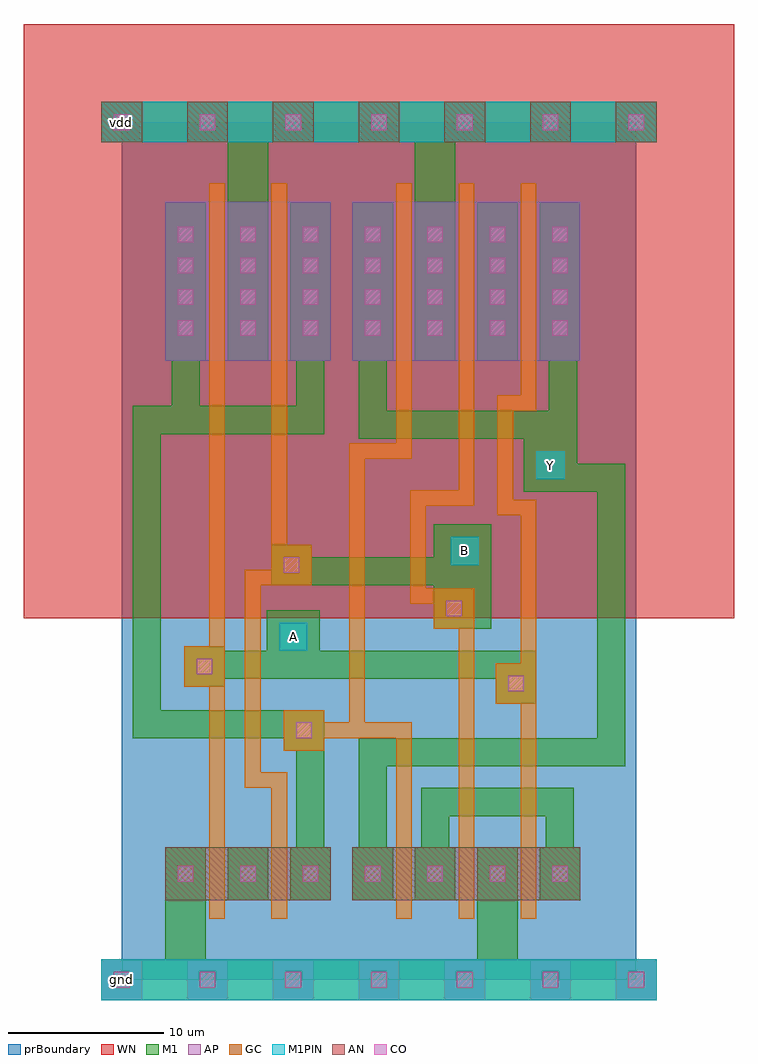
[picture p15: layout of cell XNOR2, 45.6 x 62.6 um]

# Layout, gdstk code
import gdstk
lib = gdstk.Library(unit=1e-6, precision=1e-09)
def R(c, l, rs):  # rectangles x0, y0, x1, y1
    for r in rs: c.add(gdstk.rectangle(r[:2], r[2:], *l))
def A(c, l, x, y, w, h, nx, ny, dx, dy):  # array of equal rectangles
    R(c, l, [(x+i*dx, y+j*dy, x+i*dx+w, y+j*dy+h) for i in range(nx) for j in range(ny)])
def P(c, l, *ps):  # polygons
    for p in ps: c.add(gdstk.Polygon(p, *l))
AP = (3, 1)
AN = (3, 2)
GC = (8, 1)
CO = (11, 0)
M1 = (13, 0)
M1PIN = (48, 1)
WN = (140, 0)
prBoundary = (235, 0)

xnor2 = lib.new_cell('XNOR2')
A(xnor2, AP, -1.3, -1.3, 2.6, 2.6, 7, 1, 5.5, 0)
R(xnor2, AP, [(2.8,39.7,13.4,49.9), (2.8,39.7,13.4,49.9), (14.8,39.7,29.4,49.9), (14.8,39.7,29.4,49.9)])
A(xnor2, AN, -1.3, 53.7, 2.6, 2.6, 7, 1, 5.5, 0)
R(xnor2, AN, [(2.8,5.1,13.4,8.5), (14.8,5.1,29.4,8.5)])
P(xnor2, GC, [(5.6,3.9),(5.6,18.8),(4,18.8),(4,21.4),(5.6,21.4),(5.6,51.1),(6.6,51.1),(6.6,3.9)],
  [(9.6,3.9),(9.6,12.3),(7.9,12.3),(7.9,26.3),(9.6,26.3),(9.6,51.1),(10.6,51.1),(10.6,27.9),(12.2,27.9),(12.2,25.3),(8.9,25.3),(8.9,13.3),(10.6,13.3),(10.6,3.9)],
  [(17.6,3.9),(17.6,15.5),(13,15.5),(13,14.7),(10.4,14.7),(10.4,17.3),(13,17.3),(13,16.5),(14.6,16.5),(14.6,34.4),(17.6,34.4),(17.6,51.1),(18.6,51.1),(18.6,33.4),(15.6,33.4),(15.6,16.5),(18.6,16.5),(18.6,3.9)],
  [(21.6,3.9),(21.6,22.5),(20,22.5),(20,24.1),(18.5,24.1),(18.5,31.4),(21.6,31.4),(21.6,51.1),(22.6,51.1),(22.6,30.4),(19.5,30.4),(19.5,25.1),(22.6,25.1),(22.6,3.9)],
  [(25.6,3.9),(25.6,17.7),(24,17.7),(24,20.3),(25.6,20.3),(25.6,29.8),(24.1,29.8),(24.1,37.5),(25.6,37.5),(25.6,51.1),(26.6,51.1),(26.6,36.5),(25.1,36.5),(25.1,30.8),(26.6,30.8),(26.6,3.9)])
A(xnor2, CO, -0.5, -0.5, 1, 1, 7, 2, 5.5, 55)
A(xnor2, CO, 7.6, 6.3, 1, 1, 4, 2, 4, 35)
A(xnor2, CO, 3.6, 41.3, 1, 1, 1, 4, 0, 2)
A(xnor2, CO, 7.6, 41.3, 1, 1, 1, 4, 0, 2)
A(xnor2, CO, 19.6, 41.3, 1, 1, 1, 4, 0, 2)
A(xnor2, CO, 27.6, 41.3, 1, 1, 1, 4, 0, 2)
A(xnor2, CO, 7.6, 43.3, 1, 1, 4, 3, 4, 2)
R(xnor2, CO, [(3.6,6.3,4.6,7.3), (7.6,6.3,8.6,7.3), (19.6,6.3,20.6,7.3), (23.6,6.3,24.6,7.3), (23.6,6.3,24.6,7.3), (27.6,6.3,28.6,7.3), (11.2,15.5,12.2,16.5), (24.8,18.5,25.8,19.5), (4.8,19.6,5.8,20.6), (20.8,23.3,21.8,24.3), (10.4,26.1,11.4,27.1), (23.6,41.3,24.6,42.3), (23.6,41.3,24.6,42.3), (23.6,43.3,24.6,44.3), (23.6,43.3,24.6,44.3), (23.6,45.3,24.6,46.3), (23.6,45.3,24.6,46.3), (23.6,47.3,24.6,48.3), (23.6,47.3,24.6,48.3)])
R(xnor2, M1, [(6.8,5.1,9.4,8.5), (22.8,39.7,25.4,49.9)])
P(xnor2, M1, [(-1.3,-1.3),(-1.3,1.3),(2.8,1.3),(2.8,8.5),(5.4,8.5),(5.4,1.3),(22.8,1.3),(22.8,8.5),(25.4,8.5),(25.4,1.3),(34.3,1.3),(34.3,-1.3)],
  [(18.8,5.1),(18.8,8.5),(19.2,8.5),(19.2,12.3),(29,12.3),(29,8.5),(29.4,8.5),(29.4,5.1),(26.8,5.1),(26.8,8.5),(27.2,8.5),(27.2,10.5),(21,10.5),(21,8.5),(21.4,8.5),(21.4,5.1)],
  [(24,17.7),(24,19.3),(6.6,19.3),(6.6,18.8),(4,18.8),(4,21.4),(6.6,21.4),(6.6,21.1),(9.3,21.1),(9.3,23.7),(12.7,23.7),(12.7,21.1),(26.6,21.1),(26.6,17.7)],
  [(20,22.5),(20,25.3),(9.6,25.3),(9.6,27.9),(12.2,27.9),(12.2,27.1),(20,27.1),(20,29.2),(23.7,29.2),(23.7,22.5)],
  [(10.8,5.1),(10.8,8.5),(11.2,8.5),(11.2,14.7),(10.4,14.7),(10.4,15.5),(0.7,15.5),(0.7,36.8),(3.2,36.8),(3.2,39.7),(2.8,39.7),(2.8,49.9),(5.4,49.9),(5.4,39.7),(5,39.7),(5,36.8),(11.2,36.8),(11.2,39.7),(10.8,39.7),(10.8,49.9),(13.4,49.9),(13.4,39.7),(13,39.7),(13,35),(2.5,35),(2.5,17.3),(13,17.3),(13,8.5),(13.4,8.5),(13.4,5.1)],
  [(14.8,5.1),(14.8,8.5),(15.2,8.5),(15.2,15.5),(30.5,15.5),(30.5,31.3),(25.8,31.3),(25.8,34.7),(15.2,34.7),(15.2,39.7),(14.8,39.7),(14.8,49.9),(17.4,49.9),(17.4,39.7),(17,39.7),(17,36.5),(27.4,36.5),(27.4,39.7),(26.8,39.7),(26.8,49.9),(29.4,49.9),(29.4,39.7),(29.2,39.7),(29.2,33.1),(32.3,33.1),(32.3,13.7),(17,13.7),(17,8.5),(17.4,8.5),(17.4,5.1)],
  [(6.8,39.7),(6.8,53.7),(-1.3,53.7),(-1.3,56.3),(34.3,56.3),(34.3,53.7),(21.4,53.7),(21.4,39.7),(18.8,39.7),(18.8,53.7),(9.4,53.7),(9.4,39.7)])
R(xnor2, M1PIN, [(-1.3,-1.3,34.3,1.3), (10.1,21.1,11.9,22.9), (21.1,26.6,22.9,28.4), (26.6,32.1,28.4,33.9), (-1.3,53.7,34.3,56.3)])
R(xnor2, WN, [(-6.3,23.2,39.3,61.3)])
R(xnor2, prBoundary, [(0,0,33,55)])
xnor2.add(gdstk.Label('Y', (27.5,33), layer=48, texttype=0))
xnor2.add(gdstk.Label('A', (11,22), layer=48, texttype=0))
xnor2.add(gdstk.Label('B', (22,27.5), layer=48, texttype=0))
xnor2.add(gdstk.Label('vdd', (0,55), layer=48, texttype=0))
xnor2.add(gdstk.Label('gnd', (0,0), layer=48, texttype=0))

lib.write_gds('XNOR2.gds')
